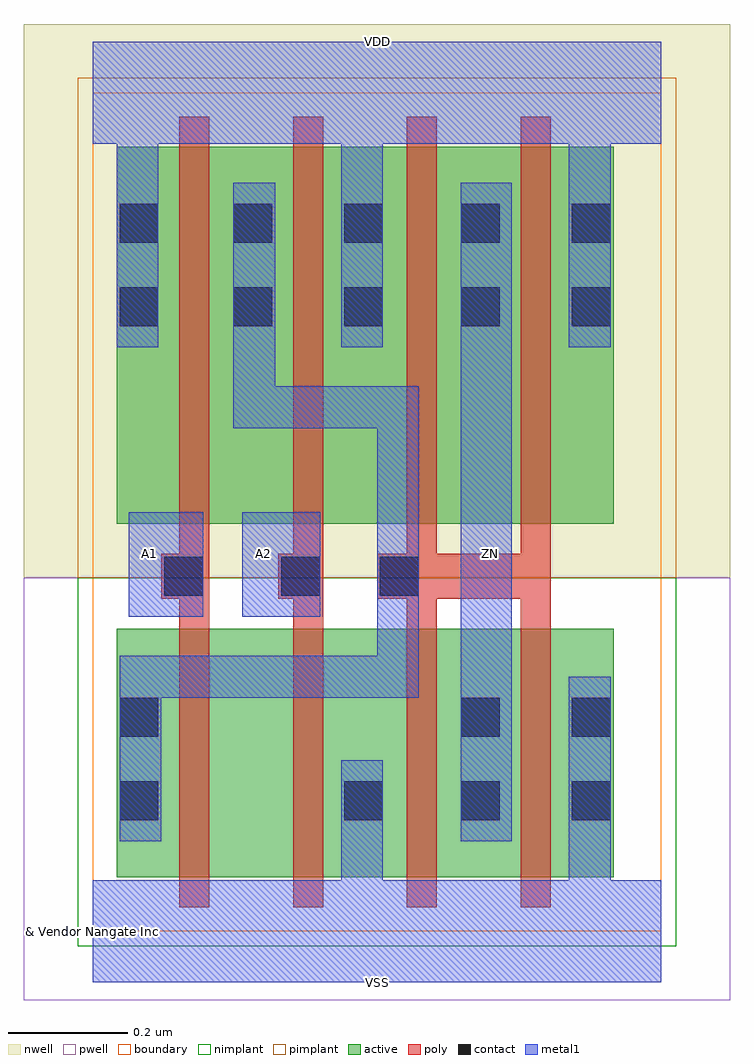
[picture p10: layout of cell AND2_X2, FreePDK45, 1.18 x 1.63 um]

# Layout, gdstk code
import gdstk
lib = gdstk.Library(unit=1e-6, precision=1e-10)
def R(c, l, rs):  # rectangles x0, y0, x1, y1
    for r in rs: c.add(gdstk.rectangle(r[:2], r[2:], *l))
def P(c, l, *ps):  # polygons
    for p in ps: c.add(gdstk.Polygon(p, *l))
active = (1, 0)
pwell = (2, 0)
nwell = (3, 0)
nimplant = (4, 0)
pimplant = (5, 0)
poly = (9, 0)
contact = (10, 0)
metal1 = (11, 0)
boundary = (235, 0)

and2_x2 = lib.new_cell('AND2_X2')
R(and2_x2, active, [(0.04,0.09,0.87,0.505), (0.04,0.68,0.87,1.31)])
R(and2_x2, pwell, [(-0.115,-0.115,1.065,0.59)])
R(and2_x2, nwell, [(-0.115,0.59,1.065,1.515)])
R(and2_x2, nimplant, [(-0.025,-0.025,0.975,0.59)])
R(and2_x2, pimplant, [(-0.025,0.59,0.975,1.425)])
P(and2_x2, poly, [(0.145,0.04),(0.145,0.555),(0.115,0.555),(0.115,0.63),(0.145,0.63),(0.145,1.36),(0.195,1.36),(0.195,0.04)],
  [(0.335,0.04),(0.335,0.555),(0.31,0.555),(0.31,0.63),(0.335,0.63),(0.335,1.36),(0.385,1.36),(0.385,0.04)],
  [(0.525,0.04),(0.525,0.555),(0.475,0.555),(0.475,0.63),(0.525,0.63),(0.525,1.36),(0.575,1.36),(0.575,0.63),(0.715,0.63),(0.715,1.36),(0.765,1.36),(0.765,0.04),(0.715,0.04),(0.715,0.555),(0.575,0.555),(0.575,0.04)])
R(and2_x2, contact, [(0.045,0.185,0.11,0.25), (0.42,0.185,0.485,0.25), (0.615,0.185,0.68,0.25), (0.8,0.185,0.865,0.25), (0.045,0.325,0.11,0.39), (0.615,0.325,0.68,0.39), (0.8,0.325,0.865,0.39), (0.12,0.56,0.185,0.625), (0.315,0.56,0.38,0.625), (0.48,0.56,0.545,0.625), (0.045,1.01,0.11,1.075), (0.235,1.01,0.3,1.075), (0.42,1.01,0.485,1.075), (0.615,1.01,0.68,1.075), (0.8,1.01,0.865,1.075), (0.045,1.15,0.11,1.215), (0.235,1.15,0.3,1.215), (0.42,1.15,0.485,1.215), (0.615,1.15,0.68,1.215), (0.8,1.15,0.865,1.215)])
R(and2_x2, metal1, [(0.615,0.15,0.7,1.25), (0.06,0.525,0.185,0.7), (0.25,0.525,0.38,0.7)])
P(and2_x2, metal1, [(0.045,0.15),(0.045,0.46),(0.475,0.46),(0.475,0.84),(0.235,0.84),(0.235,1.25),(0.305,1.25),(0.305,0.91),(0.545,0.91),(0.545,0.39),(0.115,0.39),(0.115,0.15)],
  [(0,-0.085),(0,0.085),(0.415,0.085),(0.415,0.285),(0.485,0.285),(0.485,0.085),(0.795,0.085),(0.795,0.425),(0.865,0.425),(0.865,0.085),(0.95,0.085),(0.95,-0.085)],
  [(0.04,0.975),(0.04,1.315),(0,1.315),(0,1.485),(0.95,1.485),(0.95,1.315),(0.865,1.315),(0.865,0.975),(0.795,0.975),(0.795,1.315),(0.485,1.315),(0.485,0.975),(0.415,0.975),(0.415,1.315),(0.11,1.315),(0.11,0.975)])
R(and2_x2, boundary, [(0,0,0.95,1.4)])
and2_x2.add(gdstk.Label('A1', (0.095,0.63), layer=11, texttype=0))
and2_x2.add(gdstk.Label('A2', (0.285,0.63), layer=11, texttype=0))
and2_x2.add(gdstk.Label('VDD', (0.475,1.485), layer=11, texttype=0))
and2_x2.add(gdstk.Label('VSS', (0.475,-0.085), layer=11, texttype=0))
and2_x2.add(gdstk.Label('ZN', (0.665,0.63), layer=11, texttype=0))
and2_x2.add(gdstk.Label('& Vendor Nangate Inc', (0,0), layer=63, texttype=63))
and2_x2.add(gdstk.Label('& Product Open Cell Library', (0,0), layer=63, texttype=63))
and2_x2.add(gdstk.Label('& Version 2010_12', (0,0), layer=63, texttype=63))
and2_x2.add(gdstk.Label('& Instance AND2_X2', (0,0), layer=63, texttype=63))

lib.write_gds('AND2_X2.gds')
